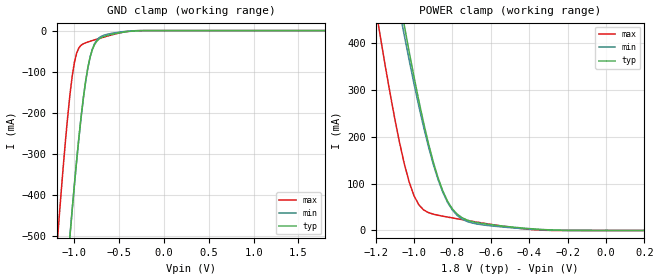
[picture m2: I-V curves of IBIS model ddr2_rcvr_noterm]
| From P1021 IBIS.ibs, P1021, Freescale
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| * 8520 DDR2 Receiver Model - No Termination   *
[Model]   ddr2_rcvr_noterm
Model_type Input
Polarity   Non-Inverting
Vinl = 0.7V
Vinh = 1.1V
|   typ   min   max
C_comp   3.628490e-12   2.023010e-12   4.796400e-12
|   typ   min   max
[Voltage range]   1.8V   1.7V   1.9V
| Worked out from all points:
|   GND clamp passes 1 mA (typ) near -0.33 V on its own axis
|   POWER clamp passes 1 mA (typ) near -0.28 V on its own axis
[GND_clamp]
| Voltage   I(typ)   I(min)   I(max)
-1.8V     -2.78A     -2.734A    -2.433A
-1.2V     -918.5mA   -909.4mA   -538.8mA
-1.175V   -846mA     -838.3mA   -467.5mA
-1.1V     -634.6mA   -630.8mA   -267.7mA
-1.05V    -500.5mA   -498.8mA   -155.7mA
-975mV    -315.3mA   -316.1mA   -54.58mA
-900mV    -162.7mA   -164.1mA   -32.05mA
-850mV    -90.19mA   -90.35mA   -27.79mA
-800mV    -46.39mA   -44.74mA   -24.31mA
-650mV    -12.83mA   -9.896mA   -14.51mA
-300mV    -558.6uA   -261.1uA   -231.9uA
1.8V      1.714uA    9.547uA    12.36nA
[POWER_clamp]
| Voltage   I(typ)   I(min)   I(max)
-1.8V     2.412A     2.266A     2.142A
-1.2V     797.2mA    753.3mA    475mA
-1.175V   734.5mA    694.6mA    412.6mA
-1.1V     552mA      523.4mA    238.4mA
-1.05V    436.4mA    415mA      141.5mA
-1V       328.1mA    313.2mA    74.16mA
-925mV    186.2mA    179.4mA    38.2mA
-875mV    112.7mA    109.2mA    32.53mA
-825mV    62.3mA     59.8mA     28.63mA
-725mV    22.56mA    19.44mA    21.45mA
-350mV    2.574mA    1.808mA    967.2uA
200mV     0A         0A         0A
